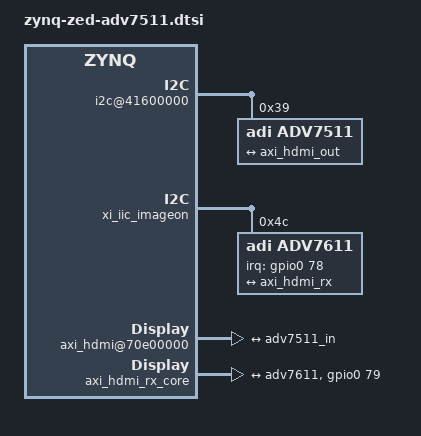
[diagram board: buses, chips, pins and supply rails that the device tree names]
/ {
	fpga_axi: fpga-axi@0 {
		compatible = "simple-bus";
		#address-cells = <0x1>;
		#size-cells = <0x1>;
		ranges;

		reconos_osif: reconos_osif@75a00000 {
				compatible = "upb,reconos-osif-3.1";
				reg = <0x75a00000 0x10000>;
		};

		reconos_osif_intc: reconos_osif_intc@7b400000 {
				compatible = "upb,reconos-osif-intc-3.1";
				reg = <0x7b400000 0x10000>;
				interrup-parent = <&intc>;
				interrupts = <0 58 4>;
		};
		reconos_proc_control: reconos_proc_control@6fe00000 {
				compatible = "upb,reconos-control-3.1";
				reg = <0x6fe00000 0x10000>;
				interrupt-parent = <&intc>;
				interrupts = <0 59 4>;
		};
		

		i2c@41600000 {
			compatible = "xlnx,axi-iic-1.01.b", "xlnx,xps-iic-2.00.a";
			reg = <0x41600000 0x10000>;
			interrupt-parent = <&intc>;
			interrupts = <0 55 0x4>;
			clocks = <&clkc 15>;
			clock-names = "pclk";

			#size-cells = <0>;
			#address-cells = <1>;

			adv7511: adv7511@39 {
				compatible = "adi,adv7511";
				reg = <0x39>, <0x3f>;
				reg-names = "primary", "edid";

				adi,input-depth = <8>;
				adi,input-colorspace = "yuv422";
				adi,input-clock = "1x";
				adi,input-style = <1>;
				adi,input-justification = "right";
				adi,clock-delay = <0>;

				#sound-dai-cells = <0>;

				ports {
					#address-cells = <1>;
					#size-cells = <0>;

					port@0 {
						reg = <0>;
						adv7511_in: endpoint {
							remote-endpoint = <&axi_hdmi_out>;
						};
					};

					port@1 {
						reg = <1>;
					};
				};
			};
		};

		xi_iic_imageon: i2c@43c40000 {
			compatible = "xlnx,axi-iic-1.02.a", "xlnx,xps-iic-2.00.a";
			reg = <0x43c40000 0x10000>;
			interrupt-parent = <&intc>;
			interrupts = <0 53 4>;
			clocks = <&clkc 15>;
			clock-names = "pclk";

			#size-cells = <0>;
			#address-cells = <1>;


			adv7611@4c {
				compatible = "adi,adv7611";
				reg = <0x4c>;
				debug = <0x02>;
				#address-cells = <0x1>;
				#size-cells = <0x0>;
				#interrupt-parent = <&intc>;
				#interrupts = <0 36 4>;
				interrupt-parent = <&gpio0>;
				interrupts = <78 4>;
				port@0 {
					reg = <0x0>;
				};

				port@1 {
					reg = <0x1>;

					adv7611: endpoint {
						bus-width = <16>;
						remote-endpoint = <&axi_hdmi_rx>;
					};
				};
			};
		

				
		};

		hdmi_dma: dma@43000000 {
			compatible = "adi,axi-dmac-1.00.a";
			reg = <0x43000000 0x10000>;
			#dma-cells = <1>;
			interrupts = <0 57 0>;
			clocks = <&clkc 16>;

			adi,channels {
				#size-cells = <0>;
				#address-cells = <1>;

				dma-channel@0 {
					reg = <0>;
					adi,source-bus-width = <64>;
					adi,source-bus-type = <0>;
					adi,destination-bus-width = <64>;
					adi,destination-bus-type = <1>;
				};
			};
		};

		hdmi_clock: axi-clkgen@79000000 {
			compatible = "adi,axi-clkgen-2.00.a";
			reg = <0x79000000 0x10000>;
			#clock-cells = <0>;
			clocks = <&clkc 16>;
		};

		axi_hdmi@70e00000 {
			compatible = "adi,axi-hdmi-tx-1.00.a";
			reg = <0x70e00000 0x10000>;
			dmas = <&hdmi_dma 0>;
			dma-names = "video";
			clocks = <&hdmi_clock>;

			port {
				axi_hdmi_out: endpoint {
					remote-endpoint = <&adv7511_in>;
				};
			};
		};

		axi_gpio_0: gpio@41200000 {
			#gpio-cells = <0x3>;
			clock-names = "s_axi_aclk";
			clocks = <0x1 0xf>;
			compatible = "xlnx,xps-gpio-1.00.a";
			gpio-controller;
			interrupt-parent = <&intc>;
			interrupts = <52 4>;
			reg = <0x41200000 0x10000>;
			xlnx,all-inputs = <0x1>;
			xlnx,all-inputs-2 = <0x1>;
			xlnx,all-outputs = <0x0>;
			xlnx,all-outputs-2 = <0x0>;
			xlnx,dout-default = <0x0>;
			xlnx,dout-default-2 = <0x0>;
			xlnx,gpio-width = <0x5>;
			xlnx,gpio2-width = <0x8>;
			xlnx,interrupt-present = <0x1>;
			xlnx,is-dual = <0x1>;
			xlnx,tri-default = <0xffffffff>;
			xlnx,tri-default-2 = <0xffffffff>;
        };

		axi_hdmi_rx_core: axi-hdmi-rx@0x75C20000 {
			compatible = "adi,axi-hdmi-rx-1.00.a";
			reg = <0x75C20000 0x10000>;
			dmas = <&axi_dmac 0>;
			dma-names = "rx";
			#gpios = <&axi_gpio_0 0 0 0>;
			gpios = <&gpio0 79 0>;
	

			port {
				#address-cells = <0>;
				#size-cells = <0>;

				axi_hdmi_rx: endpoint {
					remote-endpoint = <&adv7611>;
				};
			};
		};

		axi_dmac: dmac@43c20000 {
			compatible = "adi,axi-dmac-1.00.a";
			reg = <0x43c20000 0x10000>;
			#dma-cells = <1>;
			interrupts = <0 54 0>;
			clocks = <&clkc 16>;

			adi,channels {
				#size-cells = <0>;
				#address-cells = <1>;

				dma-channel@0 {
					reg = <0>;
					adi,source-bus-width = <64>;
					adi,source-bus-type = <2>;
					adi,destination-bus-width = <64>;
					adi,destination-bus-type = <0>;
				};
			};
		};
	};
};
